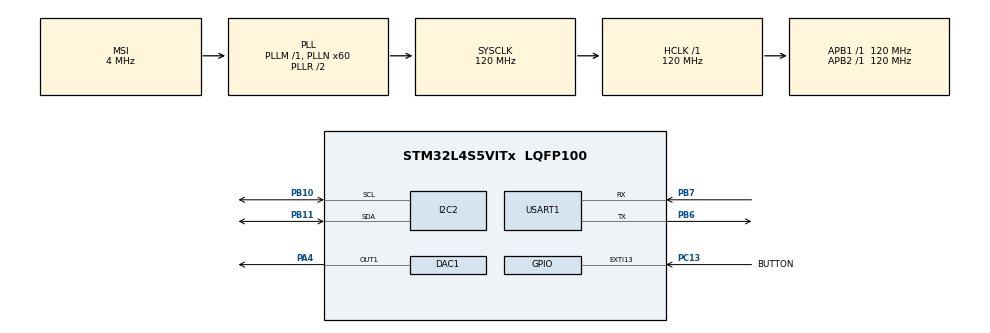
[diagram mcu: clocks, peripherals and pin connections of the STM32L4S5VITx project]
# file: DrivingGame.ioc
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FREERTOS.Tasks01=readSensor,0,128,ReadSensorTask,Default,NULL,Dynamic,NULL,NULL;displayDataTask,-3,128,DisplayDataTask,Default,NULL,Dynamic,NULL,NULL
I2C2.Timing=0x30A175AB
Mcu.Family=STM32L4
Mcu.Name=STM32L4S5VITx
Mcu.Package=LQFP100
NVIC.EXTI15_10_IRQn=true\:5\:0\:false\:false\:true\:true\:true\:true\:true
NVIC.PriorityGroup=NVIC_PRIORITYGROUP_4
NVIC.TIM2_IRQn=true\:5\:0\:false\:false\:true\:true\:true\:true\:true
NVIC.TIM6_DAC_IRQn=true\:15\:0\:false\:false\:true\:false\:true\:true\:true
NVIC.TimeBase=TIM6_DAC_IRQn
NVIC.TimeBaseIP=TIM6
NVIC.USART1_IRQn=true\:10\:0\:true\:false\:true\:true\:true\:true\:true
PA4.Signal=COMP_DAC11_group
PB10.Mode=I2C
PB10.Signal=I2C2_SCL
PB11.Mode=I2C
PB11.Signal=I2C2_SDA
PB6.Mode=Asynchronous
PB6.Signal=USART1_TX
PB7.Mode=Asynchronous
PB7.Signal=USART1_RX
PC13.GPIO_Label=BUTTON
PC13.Signal=GPXTI13
ProjectManager.HeapSize=0x200
ProjectManager.StackSize=0x400
ProjectManager.TargetToolchain=STM32CubeIDE
RCC.ADCFreq_Value=48000000
RCC.AHBFreq_Value=120000000
RCC.APB1Freq_Value=120000000
RCC.APB1TimFreq_Value=120000000
RCC.APB2Freq_Value=120000000
RCC.APB2TimFreq_Value=120000000
RCC.CortexFreq_Value=120000000
RCC.HCLKFreq_Value=120000000
RCC.HSE_VALUE=8000000
RCC.HSI48_VALUE=48000000
RCC.HSI_VALUE=16000000
RCC.LSE_VALUE=32768
RCC.MSI_VALUE=4000000
RCC.PLLN=60
RCC.PLLSAI1N=24
RCC.SYSCLKFreq_VALUE=120000000
RCC.SYSCLKSource=RCC_SYSCLKSOURCE_PLLCLK
RCC.USBFreq_Value=48000000
RCC.VCOOutputFreq_Value=240000000
SH.COMP_DAC11_group.0=DAC1_OUT1,DAC_OUT1
TIM2.Period=2721
USART1.VirtualMode-Asynchronous=VM_ASYNC
VP_FREERTOS_VS_CMSIS_V1.Mode=CMSIS_V1
VP_SYS_VS_tim6.Mode=TIM6
VP_TIM2_VS_ClockSourceINT.Mode=Internal
board=B-L4S5I-IOT01A

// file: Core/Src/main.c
/* USER CODE BEGIN Header */
/**
 ******************************************************************************
 * @file           : main.c
 * @brief          : Main program body
 ******************************************************************************
 * @attention
 *
 * Copyright (c) 2024 STMicroelectronics.
 * All rights reserved.
 *
 * This software is licensed under terms that can be found in the LICENSE file
 * in the root directory of this software component.
 * If no LICENSE file comes with this software, it is provided AS-IS.
 *
 ******************************************************************************
 */
/* USER CODE END Header */
#include "main.h"
#include "cmsis_os.h"

/* USER CODE BEGIN Includes */
#include "stm32l4s5i_iot01.h"
#include "stm32l4s5i_iot01_accelero.h"
#include "stm32l4s5i_iot01_gyro.h"

#include "arm_math.h"

#include <stdint.h>

#define PERIOD 15
#define  ARM_MATH_CM4
/* USER CODE END Includes */

/* USER CODE BEGIN PTD */
uint16_t sine[PERIOD];
/* USER CODE END PTD */

DAC_HandleTypeDef hdac1;

I2C_HandleTypeDef hi2c2;

TIM_HandleTypeDef htim2;

UART_HandleTypeDef huart1;

osThreadId readSensorHandle;
osThreadId displayDataTaskHandle;
/* USER CODE BEGIN PV */
char result[69];
float gyro[3];

uint8_t sineWave;
uint8_t steps = 0;

uint8_t sine_C6[43]; //c6-> 1046.5Hz and thus 44.1kHz/1046.5Hz=43
uint8_t sine_G6[29]; //g6-> 1567.98Hz and thus 44.1kHz/1567.98Hz=29
uint8_t sine_E6[34]; //e6-> 1318.5Hz and thus 44.1kHz/1318.5Hz=34
uint8_t *currentNote = sine_C6;
/* USER CODE END PV */

void SystemClock_Config(void);
static void MX_GPIO_Init(void);
static void MX_USART1_UART_Init(void);
static void MX_I2C2_Init(void);
static void MX_DAC1_Init(void);
static void MX_TIM2_Init(void);
void ReadSensorTask(void const * argument);
void DisplayDataTask(void const * argument);

/* USER CODE BEGIN PFP */
void HAL_TIM_PeriodElapsedCallback(TIM_HandleTypeDef *htim);
void HAL_GPIO_EXTI_Callback(uint16_t GPIO_Pin);
void generate_sound(void);
/* USER CODE END PFP */

int main(void)
{

	/* MCU Configuration--------------------------------------------------------*/

	/* Reset of all peripherals, Initializes the Flash interface and the Systick. */
	HAL_Init();

	/* Configure the system clock */
	SystemClock_Config();

	/* Initialize all configured peripherals */
	MX_GPIO_Init();
	MX_USART1_UART_Init();
	MX_I2C2_Init();
	MX_DAC1_Init();
	MX_TIM2_Init();
	/* USER CODE BEGIN 2 */
	HAL_UART_Init(&huart1);
	BSP_GYRO_Init();

	generate_sound();

	if(HAL_DAC_Start_DMA(&hdac1, DAC_CHANNEL_1, (uint32_t*)currentNote, 43, DAC_ALIGN_8B_R) != HAL_OK
			|| HAL_TIM_Base_Start_IT(&htim2) != HAL_OK) {
		Error_Handler();
	}
	/* USER CODE END 2 */

	/* Create the thread(s) */
	/* definition and creation of readSensor */
	osThreadDef(readSensor, ReadSensorTask, osPriorityNormal, 0, 128);
	readSensorHandle = osThreadCreate(osThread(readSensor), NULL);

	/* definition and creation of displayDataTask */
	osThreadDef(displayDataTask, DisplayDataTask, osPriorityIdle, 0, 128);
	displayDataTaskHandle = osThreadCreate(osThread(displayDataTask), NULL);

	/* Start scheduler */
	osKernelStart();

	/* We should never get here as control is now taken by the scheduler */

	/* Infinite loop */
	/* USER CODE BEGIN WHILE */
	while (1)
	{

	    /* USER CODE END WHILE /

	    / USER CODE BEGIN 3 */

	      //Part 1
	      for(uint32_t i=0; i<PERIOD; i++){

	          sineWave = sine[i];

	          if(HAL_DAC_SetValue(&hdac1, DAC_CHANNEL_1, DAC_ALIGN_12B_R, sineWave) != HAL_OK){
	              Error_Handler();
	          }

	          HAL_Delay(PERIOD/15); //to hear the sound on the speaker
	          //HAL_Delay(500); //to visualize the graph
	      }

	  }
	/* USER CODE END 3 */
}

void SystemClock_Config(void)
{
	RCC_OscInitTypeDef RCC_OscInitStruct = {0};
	RCC_ClkInitTypeDef RCC_ClkInitStruct = {0};

	/** Configure the main internal regulator output voltage
	 */
	if (HAL_PWREx_ControlVoltageScaling(PWR_REGULATOR_VOLTAGE_SCALE1_BOOST) != HAL_OK)
	{
		Error_Handler();
	}

	/** Initializes the RCC Oscillators according to the specified parameters
	 * in the RCC_OscInitTypeDef structure.
	 */
	RCC_OscInitStruct.OscillatorType = RCC_OSCILLATORTYPE_MSI;
	RCC_OscInitStruct.MSIState = RCC_MSI_ON;
	RCC_OscInitStruct.MSICalibrationValue = 0;
	RCC_OscInitStruct.MSIClockRange = RCC_MSIRANGE_6;
	RCC_OscInitStruct.PLL.PLLState = RCC_PLL_ON;
	RCC_OscInitStruct.PLL.PLLSource = RCC_PLLSOURCE_MSI;
	RCC_OscInitStruct.PLL.PLLM = 1;
	RCC_OscInitStruct.PLL.PLLN = 60;
	RCC_OscInitStruct.PLL.PLLP = RCC_PLLP_DIV2;
	RCC_OscInitStruct.PLL.PLLQ = RCC_PLLQ_DIV2;
	RCC_OscInitStruct.PLL.PLLR = RCC_PLLR_DIV2;
	if (HAL_RCC_OscConfig(&RCC_OscInitStruct) != HAL_OK)
	{
		Error_Handler();
	}

	/** Initializes the CPU, AHB and APB buses clocks
	 */
	RCC_ClkInitStruct.ClockType = RCC_CLOCKTYPE_HCLK|RCC_CLOCKTYPE_SYSCLK
			|RCC_CLOCKTYPE_PCLK1|RCC_CLOCKTYPE_PCLK2;
	RCC_ClkInitStruct.SYSCLKSource = RCC_SYSCLKSOURCE_PLLCLK;
	RCC_ClkInitStruct.AHBCLKDivider = RCC_SYSCLK_DIV1;
	RCC_ClkInitStruct.APB1CLKDivider = RCC_HCLK_DIV1;
	RCC_ClkInitStruct.APB2CLKDivider = RCC_HCLK_DIV1;

	if (HAL_RCC_ClockConfig(&RCC_ClkInitStruct, FLASH_LATENCY_5) != HAL_OK)
	{
		Error_Handler();
	}
}

static void MX_DAC1_Init(void)
{

	DAC_ChannelConfTypeDef sConfig = {0};

	/** DAC Initialization
	 */
	hdac1.Instance = DAC1;
	if (HAL_DAC_Init(&hdac1) != HAL_OK)
	{
		Error_Handler();
	}

	/** DAC channel OUT1 config
	 */
	sConfig.DAC_SampleAndHold = DAC_SAMPLEANDHOLD_DISABLE;
	sConfig.DAC_Trigger = DAC_TRIGGER_NONE;
	sConfig.DAC_HighFrequency = DAC_HIGH_FREQUENCY_INTERFACE_MODE_ABOVE_80MHZ;
	sConfig.DAC_OutputBuffer = DAC_OUTPUTBUFFER_ENABLE;
	sConfig.DAC_ConnectOnChipPeripheral = DAC_CHIPCONNECT_DISABLE;
	sConfig.DAC_UserTrimming = DAC_TRIMMING_FACTORY;
	if (HAL_DAC_ConfigChannel(&hdac1, &sConfig, DAC_CHANNEL_1) != HAL_OK)
	{
		Error_Handler();
	}

}

static void MX_I2C2_Init(void)
{

	hi2c2.Instance = I2C2;
	hi2c2.Init.Timing = 0x30A175AB;
	hi2c2.Init.OwnAddress1 = 0;
	hi2c2.Init.AddressingMode = I2C_ADDRESSINGMODE_7BIT;
	hi2c2.Init.DualAddressMode = I2C_DUALADDRESS_DISABLE;
	hi2c2.Init.OwnAddress2 = 0;
	hi2c2.Init.OwnAddress2Masks = I2C_OA2_NOMASK;
	hi2c2.Init.GeneralCallMode = I2C_GENERALCALL_DISABLE;
	hi2c2.Init.NoStretchMode = I2C_NOSTRETCH_DISABLE;
	if (HAL_I2C_Init(&hi2c2) != HAL_OK)
	{
		Error_Handler();
	}

	/** Configure Analogue filter
	 */
	if (HAL_I2CEx_ConfigAnalogFilter(&hi2c2, I2C_ANALOGFILTER_ENABLE) != HAL_OK)
	{
		Error_Handler();
	}

	/** Configure Digital filter
	 */
	if (HAL_I2CEx_ConfigDigitalFilter(&hi2c2, 0) != HAL_OK)
	{
		Error_Handler();
	}

}

static void MX_TIM2_Init(void)
{

	TIM_ClockConfigTypeDef sClockSourceConfig = {0};
	TIM_MasterConfigTypeDef sMasterConfig = {0};

	htim2.Instance = TIM2;
	htim2.Init.Prescaler = 0;
	htim2.Init.CounterMode = TIM_COUNTERMODE_UP;
	htim2.Init.Period = 2721;
	htim2.Init.ClockDivision = TIM_CLOCKDIVISION_DIV1;
	htim2.Init.AutoReloadPreload = TIM_AUTORELOAD_PRELOAD_DISABLE;
	if (HAL_TIM_Base_Init(&htim2) != HAL_OK)
	{
		Error_Handler();
	}
	sClockSourceConfig.ClockSource = TIM_CLOCKSOURCE_INTERNAL;
	if (HAL_TIM_ConfigClockSource(&htim2, &sClockSourceConfig) != HAL_OK)
	{
		Error_Handler();
	}
	sMasterConfig.MasterOutputTrigger = TIM_TRGO_RESET;
	sMasterConfig.MasterSlaveMode = TIM_MASTERSLAVEMODE_DISABLE;
	if (HAL_TIMEx_MasterConfigSynchronization(&htim2, &sMasterConfig) != HAL_OK)
	{
		Error_Handler();
	}

}

static void MX_USART1_UART_Init(void)
{

	huart1.Instance = USART1;
	huart1.Init.BaudRate = 115200;
	huart1.Init.WordLength = UART_WORDLENGTH_8B;
	huart1.Init.StopBits = UART_STOPBITS_1;
	huart1.Init.Parity = UART_PARITY_NONE;
	huart1.Init.Mode = UART_MODE_TX_RX;
	huart1.Init.HwFlowCtl = UART_HWCONTROL_NONE;
	huart1.Init.OverSampling = UART_OVERSAMPLING_16;
	huart1.Init.OneBitSampling = UART_ONE_BIT_SAMPLE_DISABLE;
	huart1.Init.ClockPrescaler = UART_PRESCALER_DIV1;
	huart1.AdvancedInit.AdvFeatureInit = UART_ADVFEATURE_NO_INIT;
	if (HAL_UART_Init(&huart1) != HAL_OK)
	{
		Error_Handler();
	}
	if (HAL_UARTEx_SetTxFifoThreshold(&huart1, UART_TXFIFO_THRESHOLD_1_8) != HAL_OK)
	{
		Error_Handler();
	}
	if (HAL_UARTEx_SetRxFifoThreshold(&huart1, UART_RXFIFO_THRESHOLD_1_8) != HAL_OK)
	{
		Error_Handler();
	}
	if (HAL_UARTEx_DisableFifoMode(&huart1) != HAL_OK)
	{
		Error_Handler();
	}

}

static void MX_GPIO_Init(void)
{
	GPIO_InitTypeDef GPIO_InitStruct = {0};

	/* GPIO Ports Clock Enable */
	__HAL_RCC_GPIOC_CLK_ENABLE();
	__HAL_RCC_GPIOA_CLK_ENABLE();
	__HAL_RCC_GPIOB_CLK_ENABLE();

	/*Configure GPIO pin : BUTTON_Pin */
	GPIO_InitStruct.Pin = BUTTON_Pin;
	GPIO_InitStruct.Mode = GPIO_MODE_IT_RISING;
	GPIO_InitStruct.Pull = GPIO_NOPULL;
	HAL_GPIO_Init(BUTTON_GPIO_Port, &GPIO_InitStruct);

	/* EXTI interrupt init*/
	HAL_NVIC_SetPriority(EXTI15_10_IRQn, 5, 0);
	HAL_NVIC_EnableIRQ(EXTI15_10_IRQn);

}

/* USER CODE BEGIN 4 */
void generate_sound(void) {

	// C6
	for(int i = 0; i < 43; i++) {
		sine_C6[i] = (uint8_t) ((arm_sin_f32((2*M_PI*i)/43) + 1)*(170.0f / 2.0f)); //170/2=85 (multiply 85 because that is 66% of 255)
	}
	// G6
	for(int i=0; i < 29; i++) {
		sine_G6[i] = (uint8_t) ((arm_sin_f32((2*M_PI*i)/29) + 1)*(170.0f / 2.0f));
	}
	// E6
	for(int i = 0; i < 34; i++) {
		sine_E6[i] = (uint8_t) ((arm_sin_f32((2*M_PI*i)/34) + 1)*(170.0f / 2.0f));
	}
}

void HAL_GPIO_EXTI_Callback(uint16_t GPIO_Pin){
	HAL_DAC_Stop_DMA(&hdac1, DAC_CHANNEL_1);

	if(currentNote == sine_C6){
		currentNote = sine_E6;
		HAL_DAC_Start_DMA(&hdac1, DAC_CHANNEL_1, (uint32_t*)currentNote, 34, DAC_ALIGN_8B_R);
	} else if(currentNote == sine_E6){
		currentNote = sine_G6;
		HAL_DAC_Start_DMA(&hdac1, DAC_CHANNEL_1, (uint32_t*)currentNote, 29, DAC_ALIGN_8B_R);
	}else {
		currentNote = sine_C6;
		HAL_DAC_Start_DMA(&hdac1, DAC_CHANNEL_1, (uint32_t*)currentNote, 43, DAC_ALIGN_8B_R);
	}

}
/* USER CODE END 4 */

void ReadSensorTask(void const * argument)
{
	/* USER CODE BEGIN 5 */
	/* Infinite loop */
	for(;;)
	{
		osDelay(100);
		BSP_GYRO_GetXYZ(&gyro);
	}
	/* USER CODE END 5 */
}

void DisplayDataTask(void const * argument)
{
	/* USER CODE BEGIN DisplayDataTask */
	/* Infinite loop */
	for(;;)
	{
		osDelay(100);
		memset(result, ' ', 69);

		sprintf(result, "\n\rGyro: %.2d, %.2d, %.2d", (int) gyro[0], (int) gyro[1], (int) gyro[2]);
		HAL_UART_Transmit(&huart1, (uint8_t *)result, 69, 100);
		/* USER CODE END DisplayDataTask */
	}
}

void HAL_TIM_PeriodElapsedCallback(TIM_HandleTypeDef *htim)
{
	if (htim->Instance == TIM6) {
		HAL_IncTick();
	}
}

void Error_Handler(void)
{
	__disable_irq();
	while (1)
	{
	}
}
